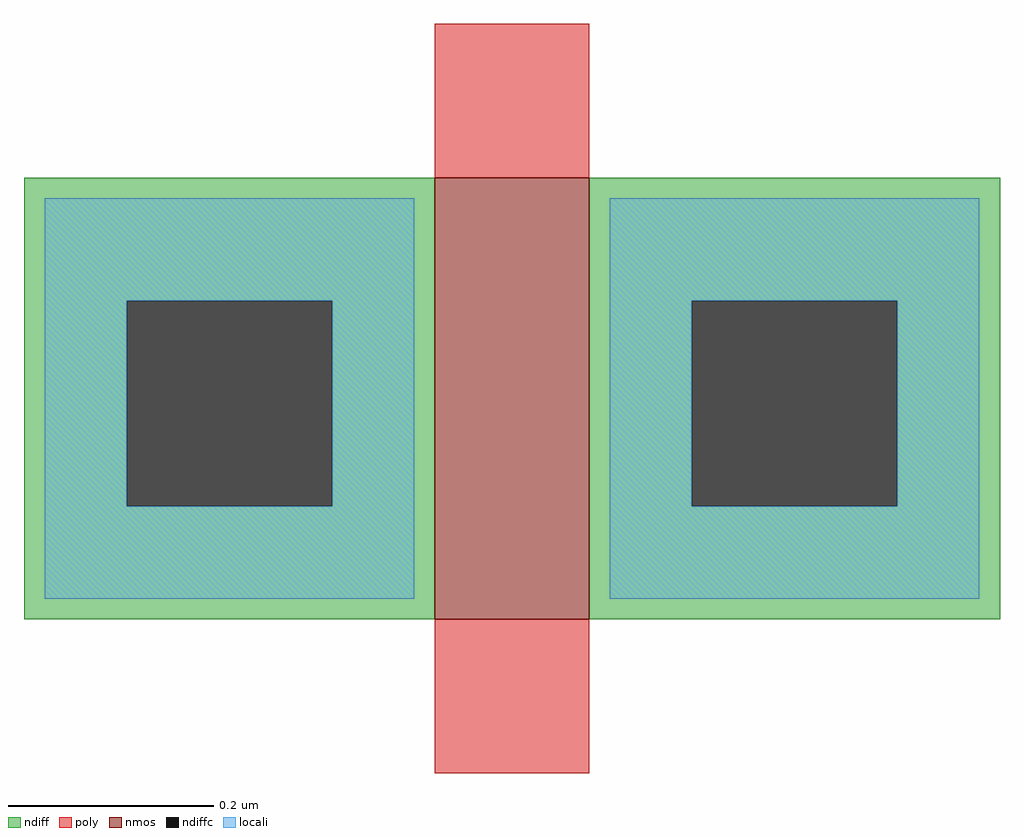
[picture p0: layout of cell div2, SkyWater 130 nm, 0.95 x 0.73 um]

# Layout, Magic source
magic
tech sky130A
<< nmos >>
rect 0 0 15 43
<< ndiff >>
rect -40 31 0 43
rect -40 11 -30 31
rect -10 11 0 31
rect -40 0 0 11
rect 15 31 55 43
rect 15 11 25 31
rect 45 11 55 31
rect 15 0 55 11
<< ndiffc >>
rect -30 11 -10 31
rect 25 11 45 31
<< poly >>
rect 0 43 15 58
rect 0 -15 15 0
<< locali >>
rect -38 31 -2 41
rect -38 11 -30 31
rect -10 11 -2 31
rect -38 2 -2 11
rect 17 31 53 41
rect 17 11 25 31
rect 45 11 53 31
rect 17 2 53 11
<< end >>
